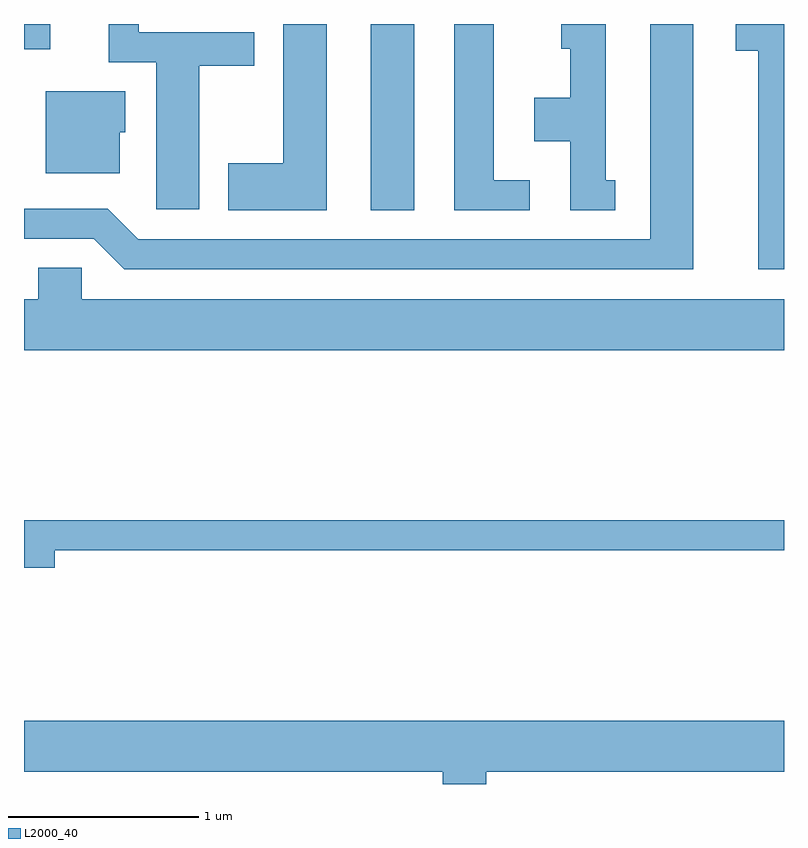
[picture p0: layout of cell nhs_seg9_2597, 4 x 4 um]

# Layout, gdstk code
import gdstk
lib = gdstk.Library(unit=1e-6, precision=1e-09)
def R(c, l, rs):  # rectangles x0, y0, x1, y1
    for r in rs: c.add(gdstk.rectangle(r[:2], r[2:], *l))
def P(c, l, *ps):  # polygons
    for p in ps: c.add(gdstk.Polygon(p, *l))
L2000_40 = (2000, 40)

nhs_seg9_2597 = lib.new_cell('nhs_seg9_2597')
R(nhs_seg9_2597, L2000_40, [(263.436,1981.451,263.664,1982.432), (261.611,1982.298,261.749,1982.432)])
P(nhs_seg9_2597, L2000_40, [(264.273,1981.609),(264.084,1981.609),(264.084,1982.432),(263.876,1982.432),(263.876,1981.451),(264.273,1981.451)],
  [(265.611,1982.432),(265.358,1982.432),(265.358,1982.291),(265.476,1982.291),(265.476,1981.141),(265.611,1981.141)],
  [(265.134,1982.432),(264.906,1982.432),(264.906,1981.299),(262.212,1981.299),(262.052,1981.459),(261.611,1981.459),(261.611,1981.301),(261.979,1981.301),(262.139,1981.141),(265.134,1981.141)],
  [(262.534,1982.211),(262.824,1982.211),(262.824,1982.389),(262.214,1982.389),(262.214,1982.432),(262.056,1982.432),(262.056,1982.231),(262.306,1982.231),(262.306,1981.456),(262.534,1981.456)],
  [(263.204,1982.432),(262.976,1982.432),(262.976,1981.699),(262.686,1981.699),(262.686,1981.451),(263.204,1981.451)],
  [(264.723,1981.609),(264.674,1981.609),(264.674,1982.432),(264.438,1982.432),(264.438,1982.301),(264.486,1982.301),(264.486,1982.044),(264.296,1982.044),(264.296,1981.816),(264.486,1981.816),(264.486,1981.451),(264.723,1981.451)],
  [(262.114,1981.861),(262.144,1981.861),(262.144,1982.079),(261.726,1982.079),(261.726,1981.646),(262.114,1981.646)],
  [(265.611,1980.984),(261.914,1980.984),(261.914,1981.149),(261.686,1981.149),(261.686,1980.984),(261.611,1980.984),(261.611,1980.716),(265.611,1980.716)],
  [(261.774,1979.661),(265.611,1979.661),(265.611,1979.819),(261.611,1979.819),(261.611,1979.571),(261.774,1979.571)],
  [(264.044,1978.496),(265.611,1978.496),(265.611,1978.764),(261.611,1978.764),(261.611,1978.496),(263.816,1978.496),(263.816,1978.432),(264.044,1978.432)])

lib.write_gds('nhs_seg9_2597.gds')
